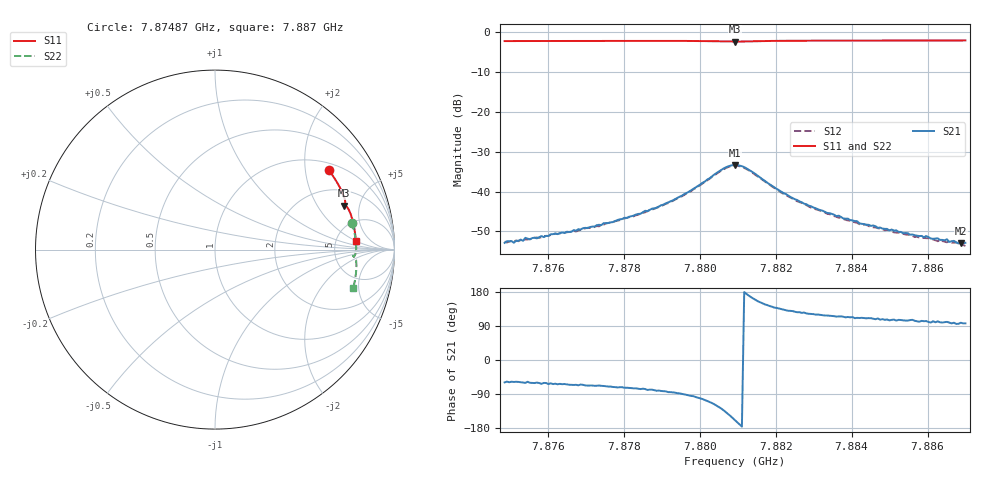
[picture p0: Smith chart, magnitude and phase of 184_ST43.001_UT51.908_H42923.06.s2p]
#  HZ  S  DB  R  50.00
! Rohde & Schwarz Vector Network Analyzer
! Rohde-Schwarz,ZNB20-2Port,1311601062101988,3.16
! Created: UTC 1/12/2023, 6:43:02 PM
! freq[Hz]  db:S11  ang:S11  db:S21  ang:S21  db:S12  ang:S12  db:S22  ang:S22
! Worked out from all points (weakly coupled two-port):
!   201 points, 7.87487 GHz to 7.887 GHz, reference 50 ohm
!   highest |S21| = -33.32 dB at 7.88093 GHz (marker M1); lowest = -53.0 dB at 7.88688 GHz (marker M2)
!   lowest |S11| = -2.4 dB at 7.88093 GHz (marker M3), VSWR 7.37, Z = 152 + j177 ohm
!   |S11| at or under -10 dB: nowhere
!   |S22| runs from -2.3 to -1.9 dB; largest |S21 - S12| = 0.0014
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7.874866e9  -2.24 34.8  -52.88 -59.1  -52.55 -60.4  -2.18 10.9
7.875351e9  -2.23 33.5  -52.39 -59.4  -52.05 -60.8  -2.16 9.8
7.875411e9  -2.23 33.4  -51.61 -60.4  -52.04 -64.6  -2.16 9.6
7.875533e9  -2.22 33.0  -52.02 -60.2  -51.90 -63.9  -2.16 9.3
7.875775e9  -2.22 32.4  -51.48 -60.7  -51.64 -63.6  -2.15 8.8
7.876928e9  -2.20 29.2  -49.21 -65.5  -49.38 -70.6  -2.12 6.0
7.877716e9  -2.19 27.1  -47.67 -71.2  -47.66 -74.1  -2.11 4.2
7.878929e9  -2.19 23.7  -43.74 -80.7  -43.88 -85.1  -2.08 1.3
7.879779e9  -2.20 21.2  -39.68 -94.8  -39.89 -98.7  -2.10 -0.7
7.880628e9  -2.32 19.0  -34.23 -132.5  -34.45 -136.1  -2.21 -2.7
7.880931e9  -2.37 18.8  -33.32 -159.1  -33.54 -162.3  -2.26 -2.7
7.881295e9  -2.30 18.5  -34.55 169.8  -34.68 166.7  -2.20 -2.8
7.882144e9  -2.17 16.3  -40.02 134.3  -40.26 131.1  -2.06 -4.7
7.882993e9  -2.14 13.9  -44.01 121.1  -44.19 117.7  -2.01 -6.7
7.884206e9  -2.11 10.6  -47.98 110.8  -48.19 107.4  -1.98 -9.4
7.884995e9  -2.10 8.5  -49.75 104.6  -49.74 104.0  -1.97 -11.2
7.885662e9  -2.10 6.8  -50.95 103.5  -51.41 99.6  -1.96 -12.7
7.886511e9  -2.09 4.6  -51.97 100.6  -52.74 97.6  -1.95 -14.5
7.886572e9  -2.09 4.4  -52.64 98.8  -52.54 95.8  -1.95 -14.6
7.886693e9  -2.09 4.1  -52.38 98.4  -52.84 94.6  -1.95 -14.9
7.886875e9  -2.08 3.6  -53.04 98.3  -53.11 95.8  -1.95 -15.3
7.886996e9  -2.08 3.3  -52.86 96.7  -53.71 94.3  -1.94 -15.6
